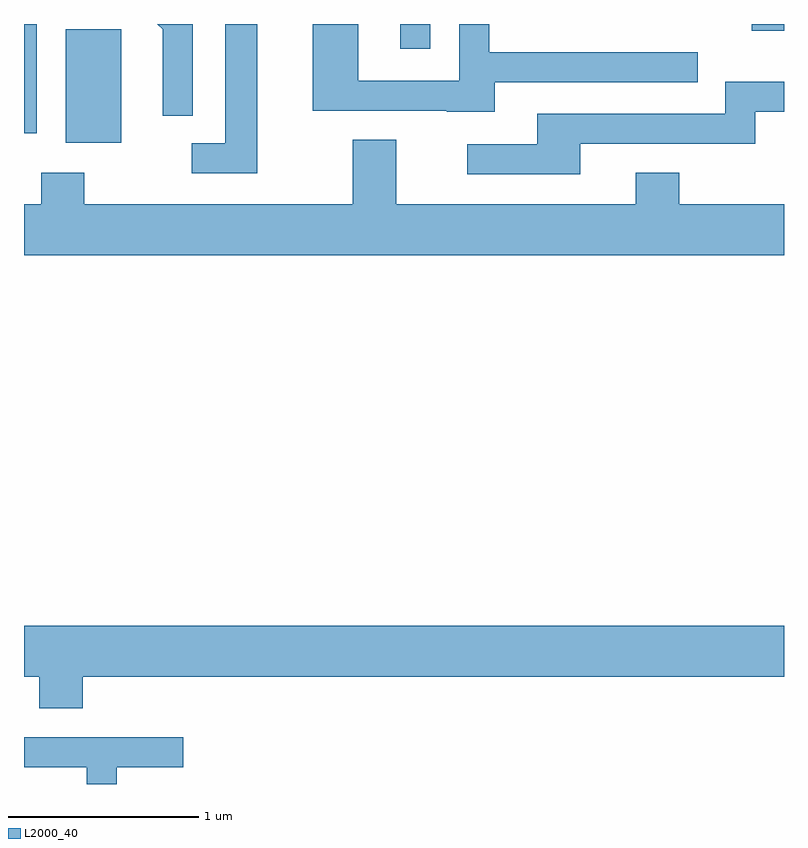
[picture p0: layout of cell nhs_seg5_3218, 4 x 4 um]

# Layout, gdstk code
import gdstk
lib = gdstk.Library(unit=1e-6, precision=1e-09)
def R(c, l, rs):  # rectangles x0, y0, x1, y1
    for r in rs: c.add(gdstk.rectangle(r[:2], r[2:], *l))
def P(c, l, *ps):  # polygons
    for p in ps: c.add(gdstk.Polygon(p, *l))
L2000_40 = (2000, 40)

nhs_seg5_3218 = lib.new_cell('nhs_seg5_3218')
R(nhs_seg5_3218, L2000_40, [(281.831,1397.446,282.124,1398.044), (281.611,1397.496,281.679,1398.072), (283.591,1397.943,283.749,1398.072), (285.441,1398.036,285.611,1398.072)])
P(nhs_seg5_3218, L2000_40, [(282.499,1398.072),(282.313,1398.072),(282.341,1398.044),(282.341,1397.588),(282.499,1397.588)],
  [(284.089,1397.766),(285.158,1397.766),(285.158,1397.924),(284.059,1397.924),(284.059,1398.072),(283.901,1398.072),(283.901,1397.774),(283.369,1397.774),(283.369,1398.072),(283.131,1398.072),(283.131,1397.616),(283.835,1397.616),(283.835,1397.611),(284.089,1397.611)],
  [(282.839,1398.072),(282.671,1398.072),(282.671,1397.444),(282.493,1397.444),(282.493,1397.286),(282.839,1397.286)],
  [(284.539,1397.441),(285.459,1397.441),(285.459,1397.611),(285.611,1397.611),(285.611,1397.769),(285.301,1397.769),(285.301,1397.599),(284.311,1397.599),(284.311,1397.439),(283.943,1397.439),(283.943,1397.281),(284.539,1397.281)],
  [(285.611,1397.124),(285.059,1397.124),(285.059,1397.289),(284.831,1397.289),(284.831,1397.124),(283.569,1397.124),(283.569,1397.464),(283.341,1397.464),(283.341,1397.124),(281.929,1397.124),(281.929,1397.289),(281.701,1397.289),(281.701,1397.124),(281.611,1397.124),(281.611,1396.856),(285.611,1396.856)],
  [(281.919,1394.636),(285.611,1394.636),(285.611,1394.904),(281.611,1394.904),(281.611,1394.636),(281.691,1394.636),(281.691,1394.471),(281.919,1394.471)],
  [(282.099,1394.161),(282.448,1394.161),(282.448,1394.319),(281.611,1394.319),(281.611,1394.161),(281.941,1394.161),(281.941,1394.072),(282.099,1394.072)])

lib.write_gds('nhs_seg5_3218.gds')
